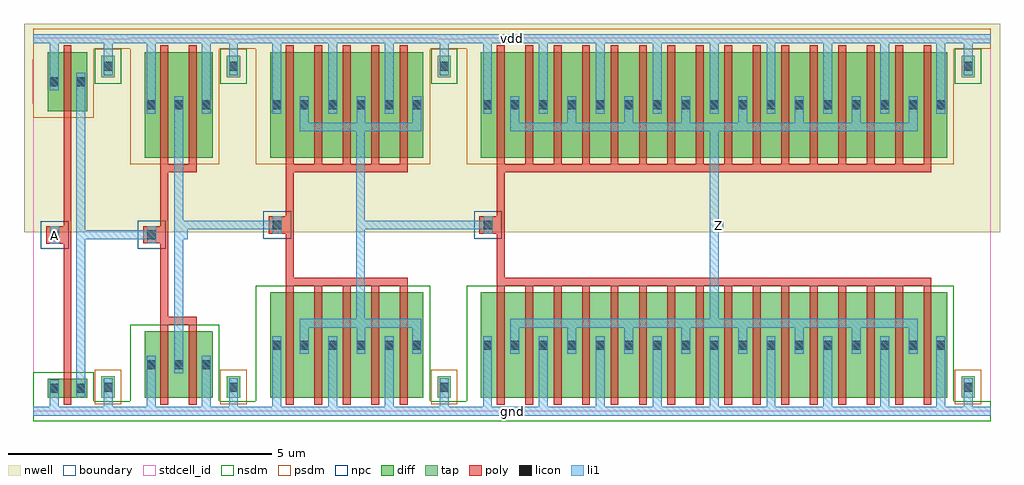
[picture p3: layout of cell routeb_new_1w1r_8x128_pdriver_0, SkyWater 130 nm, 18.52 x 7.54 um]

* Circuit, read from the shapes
.subckt routeb_new_1w1r_8x128_pdriver_0 A Z gnd vdd
XM1 routeb_new_1w1r_8x128_pinv_4_1/A A gnd gnd sky130_fd_pr__nfet_01v8 w=0.36 l=0.15
XM2 routeb_new_1w1r_8x128_pinv_5_2/A routeb_new_1w1r_8x128_pinv_4_1/A gnd gnd sky130_fd_pr__nfet_01v8 w=1.26 l=0.15 m=2
XM3 routeb_new_1w1r_8x128_pinv_6_3/A routeb_new_1w1r_8x128_pinv_5_2/A gnd gnd sky130_fd_pr__nfet_01v8 w=2 l=0.15 m=5
XM4 Z routeb_new_1w1r_8x128_pinv_6_3/A gnd gnd sky130_fd_pr__nfet_01v8 w=2 l=0.15 m=16
XM5 routeb_new_1w1r_8x128_pinv_4_1/A A vdd vdd sky130_fd_pr__pfet_01v8 w=1.12 l=0.15
XM6 routeb_new_1w1r_8x128_pinv_5_2/A routeb_new_1w1r_8x128_pinv_4_1/A vdd vdd sky130_fd_pr__pfet_01v8 w=2 l=0.15 m=2
XM7 routeb_new_1w1r_8x128_pinv_6_3/A routeb_new_1w1r_8x128_pinv_5_2/A vdd vdd sky130_fd_pr__pfet_01v8 w=2 l=0.15 m=5
XM8 Z routeb_new_1w1r_8x128_pinv_6_3/A vdd vdd sky130_fd_pr__pfet_01v8 w=2 l=0.15 m=16
.ends

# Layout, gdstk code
import gdstk
lib = gdstk.Library(unit=1e-6, precision=1e-09)
def R(c, l, rs):  # rectangles x0, y0, x1, y1
    for r in rs: c.add(gdstk.rectangle(r[:2], r[2:], *l))
def A(c, l, x, y, w, h, nx, ny, dx, dy):  # array of equal rectangles
    R(c, l, [(x+i*dx, y+j*dy, x+i*dx+w, y+j*dy+h) for i in range(nx) for j in range(ny)])
nwell = (64, 20)
diff = (65, 20)
tap = (65, 44)
poly = (66, 20)
licon = (66, 44)
li1 = (67, 20)
stdcell_id = (81, 4)
nsdm = (93, 44)
psdm = (94, 20)
npc = (95, 20)
boundary = (235, 4)

routeb_new_1w1r_8x128_co = lib.new_cell('routeb_new_1w1r_8x128_contact_11')
R(routeb_new_1w1r_8x128_co, nwell, [(-0.295,-0.255,0.545,0.585)])
R(routeb_new_1w1r_8x128_co, diff, [(0,0.02,0.25,0.31)])
R(routeb_new_1w1r_8x128_co, licon, [(0.04,0.08,0.21,0.25)])
R(routeb_new_1w1r_8x128_co, li1, [(0.04,0,0.21,0.33)])
R(routeb_new_1w1r_8x128_co, stdcell_id, [(-0.295,-0.255,0.545,0.585)])
R(routeb_new_1w1r_8x128_co, psdm, [(-0.125,-0.105,0.375,0.435)])
R(routeb_new_1w1r_8x128_co, boundary, [(-0.295,-0.255,0.545,0.585)])

routeb_new_1w1r_8x128_pm = lib.new_cell('routeb_new_1w1r_8x128_pmos_m1_w1_120_sli_dli_da_p')
R(routeb_new_1w1r_8x128_pm, nwell, [(-0.27,-0.27,1.02,1.39)])
R(routeb_new_1w1r_8x128_pm, diff, [(0,0,0.75,1.12)])
R(routeb_new_1w1r_8x128_pm, poly, [(0.3,-0.13,0.45,1.25), (0.3,-0.13,0.45,1.25)])
R(routeb_new_1w1r_8x128_pm, li1, [(0.04,0.395,0.21,0.725), (0.54,0.395,0.71,0.725)])
R(routeb_new_1w1r_8x128_pm, stdcell_id, [(-0.27,-0.27,1.02,1.39)])
R(routeb_new_1w1r_8x128_pm, psdm, [(-0.125,-0.125,0.875,1.245)])
R(routeb_new_1w1r_8x128_pm, boundary, [(-0.27,-0.27,1.02,1.39)])
routeb_new_1w1r_8x128_pm.add(gdstk.Reference(routeb_new_1w1r_8x128_co, (0,0.395)))
routeb_new_1w1r_8x128_pm.add(gdstk.Reference(routeb_new_1w1r_8x128_co, (0.5,0.395)))
routeb_new_1w1r_8x128_pm.add(gdstk.Label('G', (0.375,0.56), layer=66, texttype=5))
routeb_new_1w1r_8x128_pm.add(gdstk.Label('S', (0.125,0.56), layer=67, texttype=5))
routeb_new_1w1r_8x128_pm.add(gdstk.Label('D', (0.625,0.56), layer=67, texttype=5))

c_routeb_new_1w1r_8x128_co = lib.new_cell('routeb_new_1w1r_8x128_contact_10')
R(c_routeb_new_1w1r_8x128_co, diff, [(0,0.02,0.25,0.31)])
R(c_routeb_new_1w1r_8x128_co, licon, [(0.04,0.08,0.21,0.25)])
R(c_routeb_new_1w1r_8x128_co, li1, [(0.04,0,0.21,0.33)])
R(c_routeb_new_1w1r_8x128_co, stdcell_id, [(-0.125,-0.105,0.375,0.435)])
R(c_routeb_new_1w1r_8x128_co, nsdm, [(-0.125,-0.105,0.375,0.435)])
R(c_routeb_new_1w1r_8x128_co, boundary, [(-0.125,-0.105,0.375,0.435)])

routeb_new_1w1r_8x128_nm = lib.new_cell('routeb_new_1w1r_8x128_nmos_m1_w0_360_sli_dli_da_p')
R(routeb_new_1w1r_8x128_nm, diff, [(0,0,0.75,0.36)])
R(routeb_new_1w1r_8x128_nm, poly, [(0.3,-0.13,0.45,0.49), (0.3,-0.13,0.45,0.49)])
R(routeb_new_1w1r_8x128_nm, li1, [(0.04,0.015,0.21,0.345), (0.54,0.015,0.71,0.345)])
R(routeb_new_1w1r_8x128_nm, stdcell_id, [(-0.125,-0.13,0.875,0.49)])
R(routeb_new_1w1r_8x128_nm, nsdm, [(-0.125,-0.125,0.875,0.485)])
R(routeb_new_1w1r_8x128_nm, boundary, [(-0.125,-0.13,0.875,0.49)])
routeb_new_1w1r_8x128_nm.add(gdstk.Reference(c_routeb_new_1w1r_8x128_co, (0,0.015)))
routeb_new_1w1r_8x128_nm.add(gdstk.Reference(c_routeb_new_1w1r_8x128_co, (0.5,0.015)))
routeb_new_1w1r_8x128_nm.add(gdstk.Label('G', (0.375,0.18), layer=66, texttype=5))
routeb_new_1w1r_8x128_nm.add(gdstk.Label('S', (0.125,0.18), layer=67, texttype=5))
routeb_new_1w1r_8x128_nm.add(gdstk.Label('D', (0.625,0.18), layer=67, texttype=5))

c_routeb_new_1w1r_8x128_co_ = lib.new_cell('routeb_new_1w1r_8x128_contact_24')
R(c_routeb_new_1w1r_8x128_co_, nwell, [(-0.295,-0.215,0.545,0.625)])
R(c_routeb_new_1w1r_8x128_co_, tap, [(0,0,0.25,0.41)])
R(c_routeb_new_1w1r_8x128_co_, licon, [(0.04,0.12,0.21,0.29)])
R(c_routeb_new_1w1r_8x128_co_, li1, [(0.04,0.04,0.21,0.37)])
R(c_routeb_new_1w1r_8x128_co_, stdcell_id, [(-0.295,-0.215,0.545,0.625)])
R(c_routeb_new_1w1r_8x128_co_, nsdm, [(-0.125,-0.125,0.375,0.535)])
R(c_routeb_new_1w1r_8x128_co_, boundary, [(-0.295,-0.215,0.545,0.625)])

c_routeb_new_1w1r_8x128_co__ = lib.new_cell('routeb_new_1w1r_8x128_contact_25')
R(c_routeb_new_1w1r_8x128_co__, tap, [(0,0,0.25,0.41)])
R(c_routeb_new_1w1r_8x128_co__, licon, [(0.04,0.12,0.21,0.29)])
R(c_routeb_new_1w1r_8x128_co__, li1, [(0.04,0.04,0.21,0.37)])
R(c_routeb_new_1w1r_8x128_co__, stdcell_id, [(-0.125,-0.125,0.375,0.535)])
R(c_routeb_new_1w1r_8x128_co__, psdm, [(-0.125,-0.125,0.375,0.535)])
R(c_routeb_new_1w1r_8x128_co__, boundary, [(-0.125,-0.125,0.375,0.535)])

c_routeb_new_1w1r_8x128_co___ = lib.new_cell('routeb_new_1w1r_8x128_contact_15')
R(c_routeb_new_1w1r_8x128_co___, poly, [(0,0,0.33,0.33)])
R(c_routeb_new_1w1r_8x128_co___, licon, [(0.08,0.08,0.25,0.25)])
R(c_routeb_new_1w1r_8x128_co___, li1, [(0.08,0,0.25,0.33)])
R(c_routeb_new_1w1r_8x128_co___, stdcell_id, [(-0.1,-0.1,0.43,0.43)])
R(c_routeb_new_1w1r_8x128_co___, npc, [(-0.1,-0.1,0.43,0.43)])
R(c_routeb_new_1w1r_8x128_co___, boundary, [(-0.1,-0.1,0.43,0.43)])

routeb_new_1w1r_8x128_pi = lib.new_cell('routeb_new_1w1r_8x128_pinv_3')
R(routeb_new_1w1r_8x128_pi, nwell, [(-0.18,3.395,2.02,7.355)])
R(routeb_new_1w1r_8x128_pi, poly, [(0.57,0.745,0.72,5.565), (0.405,3.18,0.57,3.51)])
R(routeb_new_1w1r_8x128_pi, li1, [(0,-0.085,1.84,0.085), (0.31,-0.085,0.48,0.27), (1.33,0,1.5,0.46), (0.81,0.27,0.98,6.42), (0.32,3.18,0.49,3.51), (0.895,3.26,1.065,3.43), (0.31,6.09,0.48,7.155), (1.33,6.545,1.5,7.07), (0,6.985,1.84,7.155)])
R(routeb_new_1w1r_8x128_pi, stdcell_id, [(0,0,1.84,7.07), (0,0,1.84,7.07)])
R(routeb_new_1w1r_8x128_pi, nsdm, [(0,-0.19,1.84,0.19), (0,0,1.145,0.74)])
R(routeb_new_1w1r_8x128_pi, psdm, [(0,5.57,1.145,7.07), (0,6.88,1.84,7.26)])
R(routeb_new_1w1r_8x128_pi, boundary, [(0,0,1.84,7.07), (0,0,1.84,7.07)])
routeb_new_1w1r_8x128_pi.add(gdstk.Reference(routeb_new_1w1r_8x128_pm, (0.27,5.695)))
routeb_new_1w1r_8x128_pi.add(gdstk.Reference(routeb_new_1w1r_8x128_nm, (0.27,0.255)))
routeb_new_1w1r_8x128_pi.add(gdstk.Reference(c_routeb_new_1w1r_8x128_co_, (1.29,6.34)))
routeb_new_1w1r_8x128_pi.add(gdstk.Reference(c_routeb_new_1w1r_8x128_co__, (1.29,0.255)))
routeb_new_1w1r_8x128_pi.add(gdstk.Reference(c_routeb_new_1w1r_8x128_co___, (0.24,3.18)))
routeb_new_1w1r_8x128_pi.add(gdstk.Label('A', (0.405,3.345), layer=67, texttype=5))
routeb_new_1w1r_8x128_pi.add(gdstk.Label('Z', (0.98,3.345), layer=67, texttype=5))
routeb_new_1w1r_8x128_pi.add(gdstk.Label('gnd', (0.92,0), layer=67, texttype=5))
routeb_new_1w1r_8x128_pi.add(gdstk.Label('vdd', (0.92,7.07), layer=67, texttype=5))

c_routeb_new_1w1r_8x128_pm = lib.new_cell('routeb_new_1w1r_8x128_pmos_m2_w2_000_sli_dli_da_p')
R(c_routeb_new_1w1r_8x128_pm, nwell, [(-0.27,-0.27,1.56,2.27)])
R(c_routeb_new_1w1r_8x128_pm, diff, [(0,0,1.29,2)])
R(c_routeb_new_1w1r_8x128_pm, poly, [(0.3,-0.28,0.99,-0.13), (0.3,-0.13,0.45,2.13), (0.84,-0.13,0.99,2.13)])
A(c_routeb_new_1w1r_8x128_pm, li1, 0.04, 0.835, 0.17, 0.33, 3, 1, 0.52, 0)
R(c_routeb_new_1w1r_8x128_pm, stdcell_id, [(-0.27,-0.28,1.56,2.27)])
R(c_routeb_new_1w1r_8x128_pm, psdm, [(-0.125,-0.125,1.415,2.125)])
R(c_routeb_new_1w1r_8x128_pm, boundary, [(-0.27,-0.28,1.56,2.27)])
c_routeb_new_1w1r_8x128_pm.add(gdstk.Reference(routeb_new_1w1r_8x128_co, (0,0.835)))
c_routeb_new_1w1r_8x128_pm.add(gdstk.Reference(routeb_new_1w1r_8x128_co, (0.52,0.835)))
c_routeb_new_1w1r_8x128_pm.add(gdstk.Reference(routeb_new_1w1r_8x128_co, (1.04,0.835)))
c_routeb_new_1w1r_8x128_pm.add(gdstk.Label('G', (0.645,-0.205), layer=66, texttype=5))
c_routeb_new_1w1r_8x128_pm.add(gdstk.Label('S', (1.165,1), layer=67, texttype=5))
c_routeb_new_1w1r_8x128_pm.add(gdstk.Label('S', (0.125,1), layer=67, texttype=5))
c_routeb_new_1w1r_8x128_pm.add(gdstk.Label('D', (0.645,1), layer=67, texttype=5))

c_routeb_new_1w1r_8x128_nm = lib.new_cell('routeb_new_1w1r_8x128_nmos_m2_w1_260_sli_dli_da_p')
R(c_routeb_new_1w1r_8x128_nm, diff, [(0,0,1.29,1.26)])
R(c_routeb_new_1w1r_8x128_nm, poly, [(0.3,-0.13,0.45,1.39), (0.84,-0.13,0.99,1.39), (0.3,1.39,0.99,1.54)])
A(c_routeb_new_1w1r_8x128_nm, li1, 0.04, 0.465, 0.17, 0.33, 3, 1, 0.52, 0)
R(c_routeb_new_1w1r_8x128_nm, stdcell_id, [(-0.125,-0.13,1.415,1.54)])
R(c_routeb_new_1w1r_8x128_nm, nsdm, [(-0.125,-0.125,1.415,1.385)])
R(c_routeb_new_1w1r_8x128_nm, boundary, [(-0.125,-0.13,1.415,1.54)])
c_routeb_new_1w1r_8x128_nm.add(gdstk.Reference(c_routeb_new_1w1r_8x128_co, (0,0.465)))
c_routeb_new_1w1r_8x128_nm.add(gdstk.Reference(c_routeb_new_1w1r_8x128_co, (0.52,0.465)))
c_routeb_new_1w1r_8x128_nm.add(gdstk.Reference(c_routeb_new_1w1r_8x128_co, (1.04,0.465)))
c_routeb_new_1w1r_8x128_nm.add(gdstk.Label('G', (0.645,1.465), layer=66, texttype=5))
c_routeb_new_1w1r_8x128_nm.add(gdstk.Label('S', (0.125,0.63), layer=67, texttype=5))
c_routeb_new_1w1r_8x128_nm.add(gdstk.Label('S', (1.165,0.63), layer=67, texttype=5))
c_routeb_new_1w1r_8x128_nm.add(gdstk.Label('D', (0.645,0.63), layer=67, texttype=5))

c_routeb_new_1w1r_8x128_pi = lib.new_cell('routeb_new_1w1r_8x128_pinv_4')
R(c_routeb_new_1w1r_8x128_pi, nwell, [(-0.18,3.395,2.56,7.355)])
R(c_routeb_new_1w1r_8x128_pi, poly, [(0.57,1.795,0.72,4.535), (0.405,3.185,0.57,3.515)])
R(c_routeb_new_1w1r_8x128_pi, li1, [(0,-0.085,2.38,0.085), (0.31,-0.085,0.48,0.72), (1.35,-0.085,1.52,0.72), (1.87,0,2.04,0.46), (0.83,0.72,1,5.98), (0.32,3.185,0.49,3.515), (0.915,3.265,1.085,3.435), (0.31,5.65,0.48,7.155), (1.35,5.65,1.52,7.155), (1.87,6.545,2.04,7.07), (0,6.985,2.38,7.155)])
R(c_routeb_new_1w1r_8x128_pi, stdcell_id, [(0,0,2.38,7.07), (0,0,2.38,7.07)])
R(c_routeb_new_1w1r_8x128_pi, nsdm, [(0,-0.19,2.38,0.19), (0,0,1.685,1.64)])
R(c_routeb_new_1w1r_8x128_pi, psdm, [(0,4.69,1.685,7.07), (0,6.88,2.38,7.26)])
R(c_routeb_new_1w1r_8x128_pi, boundary, [(0,0,2.38,7.07), (0,0,2.38,7.07)])
c_routeb_new_1w1r_8x128_pi.add(gdstk.Reference(c_routeb_new_1w1r_8x128_pm, (0.27,4.815)))
c_routeb_new_1w1r_8x128_pi.add(gdstk.Reference(c_routeb_new_1w1r_8x128_nm, (0.27,0.255)))
c_routeb_new_1w1r_8x128_pi.add(gdstk.Reference(c_routeb_new_1w1r_8x128_co_, (1.83,6.34)))
c_routeb_new_1w1r_8x128_pi.add(gdstk.Reference(c_routeb_new_1w1r_8x128_co__, (1.83,0.255)))
c_routeb_new_1w1r_8x128_pi.add(gdstk.Reference(c_routeb_new_1w1r_8x128_co___, (0.24,3.185)))
c_routeb_new_1w1r_8x128_pi.add(gdstk.Label('A', (0.405,3.35), layer=67, texttype=5))
c_routeb_new_1w1r_8x128_pi.add(gdstk.Label('Z', (1,3.35), layer=67, texttype=5))
c_routeb_new_1w1r_8x128_pi.add(gdstk.Label('gnd', (1.19,0), layer=67, texttype=5))
c_routeb_new_1w1r_8x128_pi.add(gdstk.Label('vdd', (1.19,7.07), layer=67, texttype=5))

c_routeb_new_1w1r_8x128_pm_ = lib.new_cell('routeb_new_1w1r_8x128_pmos_m5_w2_000_sli_dli_da_p')
R(c_routeb_new_1w1r_8x128_pm_, nwell, [(-0.27,-0.27,3.18,2.27)])
R(c_routeb_new_1w1r_8x128_pm_, diff, [(0,0,2.91,2)])
A(c_routeb_new_1w1r_8x128_pm_, poly, 0.3, -0.13, 0.15, 2.26, 5, 1, 0.54, 0)
R(c_routeb_new_1w1r_8x128_pm_, poly, [(0.3,-0.28,2.61,-0.13)])
R(c_routeb_new_1w1r_8x128_pm_, li1, [(0.56,0.495,2.87,0.665), (0.56,0.58,0.73,1), (1.64,0.58,1.81,1), (2.7,0.58,2.87,1), (0.04,0.835,0.21,1.165), (1.1,0.835,1.27,1.165), (2.18,0.835,2.35,1.165)])
R(c_routeb_new_1w1r_8x128_pm_, stdcell_id, [(-0.27,-0.28,3.18,2.27)])
R(c_routeb_new_1w1r_8x128_pm_, psdm, [(-0.125,-0.125,3.035,2.125)])
R(c_routeb_new_1w1r_8x128_pm_, boundary, [(-0.27,-0.28,3.18,2.27)])
c_routeb_new_1w1r_8x128_pm_.add(gdstk.Reference(routeb_new_1w1r_8x128_co, (0,0.835)))
c_routeb_new_1w1r_8x128_pm_.add(gdstk.Reference(routeb_new_1w1r_8x128_co, (0.52,0.835)))
c_routeb_new_1w1r_8x128_pm_.add(gdstk.Reference(routeb_new_1w1r_8x128_co, (1.06,0.835)))
c_routeb_new_1w1r_8x128_pm_.add(gdstk.Reference(routeb_new_1w1r_8x128_co, (1.6,0.835)))
c_routeb_new_1w1r_8x128_pm_.add(gdstk.Reference(routeb_new_1w1r_8x128_co, (2.14,0.835)))
c_routeb_new_1w1r_8x128_pm_.add(gdstk.Reference(routeb_new_1w1r_8x128_co, (2.66,0.835)))
c_routeb_new_1w1r_8x128_pm_.add(gdstk.Label('G', (1.455,-0.205), layer=66, texttype=5))
c_routeb_new_1w1r_8x128_pm_.add(gdstk.Label('S', (2.265,1), layer=67, texttype=5))
c_routeb_new_1w1r_8x128_pm_.add(gdstk.Label('S', (0.125,1), layer=67, texttype=5))
c_routeb_new_1w1r_8x128_pm_.add(gdstk.Label('S', (1.185,1), layer=67, texttype=5))
c_routeb_new_1w1r_8x128_pm_.add(gdstk.Label('D', (1.715,0.58), layer=67, texttype=5))

c_routeb_new_1w1r_8x128_nm_ = lib.new_cell('routeb_new_1w1r_8x128_nmos_m5_w2_000_sli_dli_da_p')
R(c_routeb_new_1w1r_8x128_nm_, diff, [(0,0,2.91,2)])
A(c_routeb_new_1w1r_8x128_nm_, poly, 0.3, -0.13, 0.15, 2.26, 5, 1, 0.54, 0)
R(c_routeb_new_1w1r_8x128_nm_, poly, [(0.3,2.13,2.61,2.28)])
R(c_routeb_new_1w1r_8x128_nm_, li1, [(0.04,0.835,0.21,1.165), (1.1,0.835,1.27,1.165), (2.18,0.835,2.35,1.165), (0.56,1,0.73,1.42), (1.64,1,1.81,1.42), (2.7,1,2.87,1.42), (0.56,1.335,2.87,1.505)])
R(c_routeb_new_1w1r_8x128_nm_, stdcell_id, [(-0.125,-0.13,3.035,2.28)])
R(c_routeb_new_1w1r_8x128_nm_, nsdm, [(-0.125,-0.125,3.035,2.125)])
R(c_routeb_new_1w1r_8x128_nm_, boundary, [(-0.125,-0.13,3.035,2.28)])
c_routeb_new_1w1r_8x128_nm_.add(gdstk.Reference(c_routeb_new_1w1r_8x128_co, (0,0.835)))
c_routeb_new_1w1r_8x128_nm_.add(gdstk.Reference(c_routeb_new_1w1r_8x128_co, (0.52,0.835)))
c_routeb_new_1w1r_8x128_nm_.add(gdstk.Reference(c_routeb_new_1w1r_8x128_co, (1.06,0.835)))
c_routeb_new_1w1r_8x128_nm_.add(gdstk.Reference(c_routeb_new_1w1r_8x128_co, (1.6,0.835)))
c_routeb_new_1w1r_8x128_nm_.add(gdstk.Reference(c_routeb_new_1w1r_8x128_co, (2.14,0.835)))
c_routeb_new_1w1r_8x128_nm_.add(gdstk.Reference(c_routeb_new_1w1r_8x128_co, (2.66,0.835)))
c_routeb_new_1w1r_8x128_nm_.add(gdstk.Label('G', (1.455,2.205), layer=66, texttype=5))
c_routeb_new_1w1r_8x128_nm_.add(gdstk.Label('S', (2.265,1), layer=67, texttype=5))
c_routeb_new_1w1r_8x128_nm_.add(gdstk.Label('S', (0.125,1), layer=67, texttype=5))
c_routeb_new_1w1r_8x128_nm_.add(gdstk.Label('S', (1.185,1), layer=67, texttype=5))
c_routeb_new_1w1r_8x128_nm_.add(gdstk.Label('D', (1.715,1.42), layer=67, texttype=5))

c_routeb_new_1w1r_8x128_pi_ = lib.new_cell('routeb_new_1w1r_8x128_pinv_5')
R(c_routeb_new_1w1r_8x128_pi_, nwell, [(-0.18,3.395,4.18,7.355)])
R(c_routeb_new_1w1r_8x128_pi_, poly, [(0.57,2.535,0.72,4.535), (0.405,3.37,0.57,3.7)])
R(c_routeb_new_1w1r_8x128_pi_, li1, [(0,-0.085,4,0.085), (0.31,-0.085,0.48,1.09), (1.37,-0.085,1.54,1.09), (2.45,-0.085,2.62,1.09), (3.49,0,3.66,0.46), (1.9,1.59,2.07,5.48), (0.32,3.37,0.49,3.7), (1.985,3.45,2.155,3.62), (0.31,5.65,0.48,7.155), (1.37,5.65,1.54,7.155), (2.45,5.65,2.62,7.155), (3.49,6.545,3.66,7.07), (0,6.985,4,7.155)])
R(c_routeb_new_1w1r_8x128_pi_, stdcell_id, [(0,0,4,7.07), (0,0,4,7.07)])
R(c_routeb_new_1w1r_8x128_pi_, nsdm, [(0,-0.19,4,0.19), (0,0,3.305,2.38)])
R(c_routeb_new_1w1r_8x128_pi_, psdm, [(0,4.69,3.305,7.07), (0,6.88,4,7.26)])
R(c_routeb_new_1w1r_8x128_pi_, boundary, [(0,0,4,7.07), (0,0,4,7.07)])
c_routeb_new_1w1r_8x128_pi_.add(gdstk.Reference(c_routeb_new_1w1r_8x128_pm_, (0.27,4.815)))
c_routeb_new_1w1r_8x128_pi_.add(gdstk.Reference(c_routeb_new_1w1r_8x128_nm_, (0.27,0.255)))
c_routeb_new_1w1r_8x128_pi_.add(gdstk.Reference(c_routeb_new_1w1r_8x128_co_, (3.45,6.34)))
c_routeb_new_1w1r_8x128_pi_.add(gdstk.Reference(c_routeb_new_1w1r_8x128_co__, (3.45,0.255)))
c_routeb_new_1w1r_8x128_pi_.add(gdstk.Reference(c_routeb_new_1w1r_8x128_co___, (0.24,3.37)))
c_routeb_new_1w1r_8x128_pi_.add(gdstk.Label('A', (0.405,3.535), layer=67, texttype=5))
c_routeb_new_1w1r_8x128_pi_.add(gdstk.Label('Z', (2.07,3.535), layer=67, texttype=5))
c_routeb_new_1w1r_8x128_pi_.add(gdstk.Label('gnd', (2,0), layer=67, texttype=5))
c_routeb_new_1w1r_8x128_pi_.add(gdstk.Label('vdd', (2,7.07), layer=67, texttype=5))

c_routeb_new_1w1r_8x128_pm__ = lib.new_cell('routeb_new_1w1r_8x128_pmos_m16_w2_000_sli_dli_da_p')
R(c_routeb_new_1w1r_8x128_pm__, nwell, [(-0.27,-0.27,9.12,2.27)])
R(c_routeb_new_1w1r_8x128_pm__, diff, [(0,0,8.85,2)])
A(c_routeb_new_1w1r_8x128_pm__, poly, 0.3, -0.13, 0.15, 2.26, 16, 1, 0.54, 0)
R(c_routeb_new_1w1r_8x128_pm__, poly, [(0.3,-0.28,8.55,-0.13)])
A(c_routeb_new_1w1r_8x128_pm__, li1, 0.56, 0.58, 0.17, 0.42, 8, 1, 1.08, 0)
A(c_routeb_new_1w1r_8x128_pm__, li1, 1.1, 0.835, 0.17, 0.33, 7, 1, 1.08, 0)
R(c_routeb_new_1w1r_8x128_pm__, li1, [(0.56,0.495,8.29,0.665), (0.04,0.835,0.21,1.165), (8.64,0.835,8.81,1.165)])
R(c_routeb_new_1w1r_8x128_pm__, stdcell_id, [(-0.27,-0.28,9.12,2.27)])
R(c_routeb_new_1w1r_8x128_pm__, psdm, [(-0.125,-0.125,8.975,2.125)])
R(c_routeb_new_1w1r_8x128_pm__, boundary, [(-0.27,-0.28,9.12,2.27)])
c_routeb_new_1w1r_8x128_pm__.add(gdstk.Reference(routeb_new_1w1r_8x128_co, (0,0.835)))
c_routeb_new_1w1r_8x128_pm__.add(gdstk.Reference(routeb_new_1w1r_8x128_co, (0.52,0.835)))
c_routeb_new_1w1r_8x128_pm__.add(gdstk.Reference(routeb_new_1w1r_8x128_co, (1.06,0.835)))
c_routeb_new_1w1r_8x128_pm__.add(gdstk.Reference(routeb_new_1w1r_8x128_co, (1.6,0.835)))
c_routeb_new_1w1r_8x128_pm__.add(gdstk.Reference(routeb_new_1w1r_8x128_co, (2.14,0.835)))
c_routeb_new_1w1r_8x128_pm__.add(gdstk.Reference(routeb_new_1w1r_8x128_co, (2.68,0.835)))
c_routeb_new_1w1r_8x128_pm__.add(gdstk.Reference(routeb_new_1w1r_8x128_co, (3.22,0.835)))
c_routeb_new_1w1r_8x128_pm__.add(gdstk.Reference(routeb_new_1w1r_8x128_co, (3.76,0.835)))
c_routeb_new_1w1r_8x128_pm__.add(gdstk.Reference(routeb_new_1w1r_8x128_co, (4.3,0.835)))
c_routeb_new_1w1r_8x128_pm__.add(gdstk.Reference(routeb_new_1w1r_8x128_co, (4.84,0.835)))
c_routeb_new_1w1r_8x128_pm__.add(gdstk.Reference(routeb_new_1w1r_8x128_co, (5.38,0.835)))
c_routeb_new_1w1r_8x128_pm__.add(gdstk.Reference(routeb_new_1w1r_8x128_co, (5.92,0.835)))
c_routeb_new_1w1r_8x128_pm__.add(gdstk.Reference(routeb_new_1w1r_8x128_co, (6.46,0.835)))
c_routeb_new_1w1r_8x128_pm__.add(gdstk.Reference(routeb_new_1w1r_8x128_co, (7,0.835)))
c_routeb_new_1w1r_8x128_pm__.add(gdstk.Reference(routeb_new_1w1r_8x128_co, (7.54,0.835)))
c_routeb_new_1w1r_8x128_pm__.add(gdstk.Reference(routeb_new_1w1r_8x128_co, (8.08,0.835)))
c_routeb_new_1w1r_8x128_pm__.add(gdstk.Reference(routeb_new_1w1r_8x128_co, (8.6,0.835)))
c_routeb_new_1w1r_8x128_pm__.add(gdstk.Label('G', (4.425,-0.205), layer=66, texttype=5))
c_routeb_new_1w1r_8x128_pm__.add(gdstk.Label('S', (8.725,1), layer=67, texttype=5))
c_routeb_new_1w1r_8x128_pm__.add(gdstk.Label('S', (2.265,1), layer=67, texttype=5))
c_routeb_new_1w1r_8x128_pm__.add(gdstk.Label('S', (7.665,1), layer=67, texttype=5))
c_routeb_new_1w1r_8x128_pm__.add(gdstk.Label('S', (6.585,1), layer=67, texttype=5))
c_routeb_new_1w1r_8x128_pm__.add(gdstk.Label('S', (0.125,1), layer=67, texttype=5))
c_routeb_new_1w1r_8x128_pm__.add(gdstk.Label('S', (1.185,1), layer=67, texttype=5))
c_routeb_new_1w1r_8x128_pm__.add(gdstk.Label('S', (4.425,1), layer=67, texttype=5))
c_routeb_new_1w1r_8x128_pm__.add(gdstk.Label('S', (5.505,1), layer=67, texttype=5))
c_routeb_new_1w1r_8x128_pm__.add(gdstk.Label('S', (3.345,1), layer=67, texttype=5))
c_routeb_new_1w1r_8x128_pm__.add(gdstk.Label('D', (4.425,0.58), layer=67, texttype=5))

c_routeb_new_1w1r_8x128_nm__ = lib.new_cell('routeb_new_1w1r_8x128_nmos_m16_w2_000_sli_dli_da_p')
R(c_routeb_new_1w1r_8x128_nm__, diff, [(0,0,8.85,2)])
A(c_routeb_new_1w1r_8x128_nm__, poly, 0.3, -0.13, 0.15, 2.26, 16, 1, 0.54, 0)
R(c_routeb_new_1w1r_8x128_nm__, poly, [(0.3,2.13,8.55,2.28)])
A(c_routeb_new_1w1r_8x128_nm__, li1, 1.1, 0.835, 0.17, 0.33, 7, 1, 1.08, 0)
A(c_routeb_new_1w1r_8x128_nm__, li1, 0.56, 1, 0.17, 0.42, 8, 1, 1.08, 0)
R(c_routeb_new_1w1r_8x128_nm__, li1, [(0.04,0.835,0.21,1.165), (8.64,0.835,8.81,1.165), (0.56,1.335,8.29,1.505)])
R(c_routeb_new_1w1r_8x128_nm__, stdcell_id, [(-0.125,-0.13,8.975,2.28)])
R(c_routeb_new_1w1r_8x128_nm__, nsdm, [(-0.125,-0.125,8.975,2.125)])
R(c_routeb_new_1w1r_8x128_nm__, boundary, [(-0.125,-0.13,8.975,2.28)])
c_routeb_new_1w1r_8x128_nm__.add(gdstk.Reference(c_routeb_new_1w1r_8x128_co, (0,0.835)))
c_routeb_new_1w1r_8x128_nm__.add(gdstk.Reference(c_routeb_new_1w1r_8x128_co, (0.52,0.835)))
c_routeb_new_1w1r_8x128_nm__.add(gdstk.Reference(c_routeb_new_1w1r_8x128_co, (1.06,0.835)))
c_routeb_new_1w1r_8x128_nm__.add(gdstk.Reference(c_routeb_new_1w1r_8x128_co, (1.6,0.835)))
c_routeb_new_1w1r_8x128_nm__.add(gdstk.Reference(c_routeb_new_1w1r_8x128_co, (2.14,0.835)))
c_routeb_new_1w1r_8x128_nm__.add(gdstk.Reference(c_routeb_new_1w1r_8x128_co, (2.68,0.835)))
c_routeb_new_1w1r_8x128_nm__.add(gdstk.Reference(c_routeb_new_1w1r_8x128_co, (3.22,0.835)))
c_routeb_new_1w1r_8x128_nm__.add(gdstk.Reference(c_routeb_new_1w1r_8x128_co, (3.76,0.835)))
c_routeb_new_1w1r_8x128_nm__.add(gdstk.Reference(c_routeb_new_1w1r_8x128_co, (4.3,0.835)))
c_routeb_new_1w1r_8x128_nm__.add(gdstk.Reference(c_routeb_new_1w1r_8x128_co, (4.84,0.835)))
c_routeb_new_1w1r_8x128_nm__.add(gdstk.Reference(c_routeb_new_1w1r_8x128_co, (5.38,0.835)))
c_routeb_new_1w1r_8x128_nm__.add(gdstk.Reference(c_routeb_new_1w1r_8x128_co, (5.92,0.835)))
c_routeb_new_1w1r_8x128_nm__.add(gdstk.Reference(c_routeb_new_1w1r_8x128_co, (6.46,0.835)))
c_routeb_new_1w1r_8x128_nm__.add(gdstk.Reference(c_routeb_new_1w1r_8x128_co, (7,0.835)))
c_routeb_new_1w1r_8x128_nm__.add(gdstk.Reference(c_routeb_new_1w1r_8x128_co, (7.54,0.835)))
c_routeb_new_1w1r_8x128_nm__.add(gdstk.Reference(c_routeb_new_1w1r_8x128_co, (8.08,0.835)))
c_routeb_new_1w1r_8x128_nm__.add(gdstk.Reference(c_routeb_new_1w1r_8x128_co, (8.6,0.835)))
c_routeb_new_1w1r_8x128_nm__.add(gdstk.Label('G', (4.425,2.205), layer=66, texttype=5))
c_routeb_new_1w1r_8x128_nm__.add(gdstk.Label('S', (8.725,1), layer=67, texttype=5))
c_routeb_new_1w1r_8x128_nm__.add(gdstk.Label('S', (2.265,1), layer=67, texttype=5))
c_routeb_new_1w1r_8x128_nm__.add(gdstk.Label('S', (7.665,1), layer=67, texttype=5))
c_routeb_new_1w1r_8x128_nm__.add(gdstk.Label('S', (6.585,1), layer=67, texttype=5))
c_routeb_new_1w1r_8x128_nm__.add(gdstk.Label('S', (0.125,1), layer=67, texttype=5))
c_routeb_new_1w1r_8x128_nm__.add(gdstk.Label('S', (1.185,1), layer=67, texttype=5))
c_routeb_new_1w1r_8x128_nm__.add(gdstk.Label('S', (4.425,1), layer=67, texttype=5))
c_routeb_new_1w1r_8x128_nm__.add(gdstk.Label('S', (5.505,1), layer=67, texttype=5))
c_routeb_new_1w1r_8x128_nm__.add(gdstk.Label('S', (3.345,1), layer=67, texttype=5))
c_routeb_new_1w1r_8x128_nm__.add(gdstk.Label('D', (4.425,1.42), layer=67, texttype=5))

c_routeb_new_1w1r_8x128_pi__ = lib.new_cell('routeb_new_1w1r_8x128_pinv_6')
R(c_routeb_new_1w1r_8x128_pi__, nwell, [(-0.18,3.395,10.12,7.355)])
R(c_routeb_new_1w1r_8x128_pi__, poly, [(0.57,2.535,0.72,4.535), (0.405,3.37,0.57,3.7)])
A(c_routeb_new_1w1r_8x128_pi__, li1, 1.37, -0.085, 0.17, 1.175, 7, 1, 1.08, 0)
A(c_routeb_new_1w1r_8x128_pi__, li1, 1.37, 5.65, 0.17, 1.505, 7, 1, 1.08, 0)
R(c_routeb_new_1w1r_8x128_pi__, li1, [(0,-0.085,9.94,0.085), (0.31,-0.085,0.48,1.09), (8.91,-0.085,9.08,1.09), (9.43,0,9.6,0.46), (4.61,1.59,4.78,5.48), (0.32,3.37,0.49,3.7), (4.695,3.45,4.865,3.62), (0.31,5.65,0.48,7.155), (8.91,5.65,9.08,7.155), (9.43,6.545,9.6,7.07), (0,6.985,9.94,7.155)])
R(c_routeb_new_1w1r_8x128_pi__, stdcell_id, [(0,0,9.94,7.07), (0,0,9.94,7.07)])
R(c_routeb_new_1w1r_8x128_pi__, nsdm, [(0,-0.19,9.94,0.19), (0,0,9.245,2.38)])
R(c_routeb_new_1w1r_8x128_pi__, psdm, [(0,4.69,9.245,7.07), (0,6.88,9.94,7.26)])
R(c_routeb_new_1w1r_8x128_pi__, boundary, [(0,0,9.94,7.07), (0,0,9.94,7.07)])
c_routeb_new_1w1r_8x128_pi__.add(gdstk.Reference(c_routeb_new_1w1r_8x128_pm__, (0.27,4.815)))
c_routeb_new_1w1r_8x128_pi__.add(gdstk.Reference(c_routeb_new_1w1r_8x128_nm__, (0.27,0.255)))
c_routeb_new_1w1r_8x128_pi__.add(gdstk.Reference(c_routeb_new_1w1r_8x128_co_, (9.39,6.34)))
c_routeb_new_1w1r_8x128_pi__.add(gdstk.Reference(c_routeb_new_1w1r_8x128_co__, (9.39,0.255)))
c_routeb_new_1w1r_8x128_pi__.add(gdstk.Reference(c_routeb_new_1w1r_8x128_co___, (0.24,3.37)))
c_routeb_new_1w1r_8x128_pi__.add(gdstk.Label('A', (0.405,3.535), layer=67, texttype=5))
c_routeb_new_1w1r_8x128_pi__.add(gdstk.Label('Z', (4.78,3.535), layer=67, texttype=5))
c_routeb_new_1w1r_8x128_pi__.add(gdstk.Label('gnd', (4.97,0), layer=67, texttype=5))
c_routeb_new_1w1r_8x128_pi__.add(gdstk.Label('vdd', (4.97,7.07), layer=67, texttype=5))

routeb_new_1w1r_8x128_pd = lib.new_cell('routeb_new_1w1r_8x128_pdriver_0')
R(routeb_new_1w1r_8x128_pd, nwell, [(-0.18,3.395,18.34,7.355)])
R(routeb_new_1w1r_8x128_pd, li1, [(0,-0.085,18.16,0.085), (0.32,3.18,0.49,3.51), (0.895,3.265,1.065,3.435), (0.98,3.265,2.245,3.435), (0.895,3.345,1.065,3.35), (2.755,3.35,2.925,3.535), (2.755,3.45,2.925,3.62), (2.84,3.45,4.625,3.62), (6.29,3.45,8.625,3.62), (12.915,3.45,13.085,3.62), (0,6.985,18.16,7.155)])
R(routeb_new_1w1r_8x128_pd, stdcell_id, [(0,0,18.16,7.07), (0,0,18.16,7.07)])
R(routeb_new_1w1r_8x128_pd, nsdm, [(0,-0.19,18.16,0.19)])
R(routeb_new_1w1r_8x128_pd, psdm, [(0,6.88,18.16,7.26)])
R(routeb_new_1w1r_8x128_pd, boundary, [(0,0,18.16,7.07), (0,0,18.16,7.07)])
routeb_new_1w1r_8x128_pd.add(gdstk.Reference(routeb_new_1w1r_8x128_pi, (0,0)))
routeb_new_1w1r_8x128_pd.add(gdstk.Reference(c_routeb_new_1w1r_8x128_pi, (1.84,0)))
routeb_new_1w1r_8x128_pd.add(gdstk.Reference(c_routeb_new_1w1r_8x128_pi_, (4.22,0)))
routeb_new_1w1r_8x128_pd.add(gdstk.Reference(c_routeb_new_1w1r_8x128_pi__, (8.22,0)))
routeb_new_1w1r_8x128_pd.add(gdstk.Label('Z', (13,3.535), layer=67, texttype=5))
routeb_new_1w1r_8x128_pd.add(gdstk.Label('A', (0.405,3.345), layer=67, texttype=5))
routeb_new_1w1r_8x128_pd.add(gdstk.Label('gnd', (9.08,0), layer=67, texttype=5))
routeb_new_1w1r_8x128_pd.add(gdstk.Label('vdd', (9.08,7.07), layer=67, texttype=5))

lib.write_gds('routeb_new_1w1r_8x128_pdriver_0.gds')
